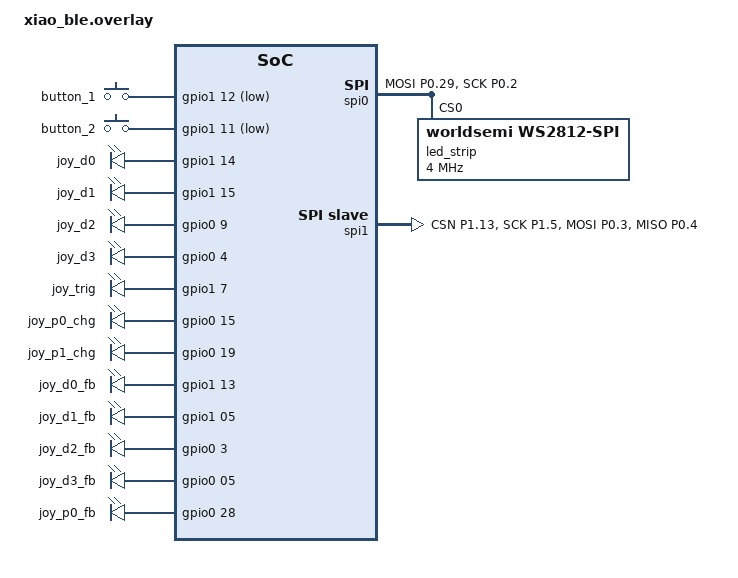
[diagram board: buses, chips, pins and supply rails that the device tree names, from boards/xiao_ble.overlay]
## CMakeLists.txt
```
# SPDX-License-Identifier: Apache-2.0

cmake_minimum_required(VERSION 3.20.0)
find_package(Zephyr REQUIRED HINTS $ENV{ZEPHYR_BASE})
project(blue2joy)

target_sources(app PRIVATE
  src/bthid/bthid.c
  src/bthid/bthid_bonds.c
  src/bthid/bthid_conn.c
  src/bthid/bthid_discovery.c
  src/bthid/bthid_report.c
  src/bthid/bthid_scan.c
  src/bthid/report_map.c
  src/btsvc/btsvc.c
  src/btjp/btjp_commands.c
  src/btjp/btjp_events.c
  src/btjp/btjp_utils.c
  src/event/event_queue.c
  src/event/event_bus.c
  src/mapper/mapper.c
  src/mapper/settings.c
  src/mapper/profiles.c
  src/mapper/joy_port.c
  src/devmgr/devmgr.c
  src/devmgr/devmgr_advlist.c
  src/devmgr/devmgr_devlist.c
  src/devmgr/settings.c
  src/usbsvc/usbsvc.c
  src/io/buttons.c
  src/io/io_pin.c
  src/io/io_pot.c
  src/io/rgbled.c
  src/io/rgbled_seq.c
  src/io/spislave.c
  src/io/xep80_uart.c
  src/xep80/xep80.c
  src/xep80/xep80_cmd.c
  src/xep80/xep80_char.c
  src/xep80/xep80_misc.c
  src/xep80/xep80_update.c
  src/usbd/usbd_init.c
  src/usbd/usbd_winusb.c
  src/usbd/usbd_webusb.c
  src/main.c
)

target_include_directories(app PRIVATE
  src
)


zephyr_library_include_directories(${ZEPHYR_BASE}/samples/bluetooth)
```

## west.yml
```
manifest:
  projects:
    - name: sdk-nrf
      url-base: https://github.com/nrfconnect
      repo-path: nrf
      revision: v3.0.1
      import: true
```

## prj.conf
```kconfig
CONFIG_USB_DEVICE_STACK=n
CONFIG_USB_DEVICE_STACK_NEXT=y
CONFIG_UDC_BUF_COUNT=32
CONFIG_UDC_BUF_POOL_SIZE=2048

CONFIG_LOG=y
CONFIG_LOG_MODE_DEFERRED=y
CONFIG_LOG_BUFFER_SIZE=4096
CONFIG_LOG_CMDS=y
CONFIG_LOG_FUNC_NAME_PREFIX_ERR=n
CONFIG_LOG_FUNC_NAME_PREFIX_WRN=n
CONFIG_LOG_FUNC_NAME_PREFIX_INF=n
CONFIG_LOG_FUNC_NAME_PREFIX_DBG=n


CONFIG_THREAD_LOCAL_STORAGE=y

CONFIG_HW_ID_LIBRARY=y

CONFIG_BT=y
CONFIG_BT_CENTRAL=y
CONFIG_BT_PERIPHERAL=y
CONFIG_BT_SMP=y
CONFIG_BT_GATT_CLIENT=y
CONFIG_BT_MAX_CONN=3
CONFIG_BT_CTLR_PHY_2M=n
CONFIG_BT_PRIVACY=y

CONFIG_BT_EXT_ADV=y
CONFIG_BT_DEVICE_NAME_DYNAMIC=y
CONFIG_BT_DEVICE_APPEARANCE=768

CONFIG_BT_BONDABLE=y
#CONFIG_BT_SMP_MIN_ENC_KEY_SIZE=7
CONFIG_BT_SMP_ENFORCE_MITM=n
CONFIG_BT_SMP_SC_PAIR_ONLY=n

CONFIG_BT_L2CAP_TX_MTU=247
CONFIG_BT_BUF_ACL_RX_SIZE=251
CONFIG_BT_BUF_ACL_TX_SIZE=251
CONFIG_BT_MAX_PAIRED=8
CONFIG_BT_BUF_ACL_TX_COUNT=8


CONFIG_BT_SETTINGS=y
CONFIG_FLASH=y
CONFIG_FLASH_PAGE_LAYOUT=y
CONFIG_FLASH_MAP=y
CONFIG_NVS=y
CONFIG_SETTINGS=y
#CONFIG_SETTINGS_NVS=y
#CONFIG_MPU_ALLOW_FLASH_WRITE=y

#CONFIG_PM_PARTITION_SIZE_SETTINGS_STORAGE=0x4000

CONFIG_GPIO=y
CONFIG_INPUT=y
CONFIG_INPUT_LONGPRESS=y

CONFIG_LED=y
CONFIG_LED_STRIP=y
CONFIG_WS2812_STRIP_SPI=y
CONFIG_SPI=y

CONFIG_SPI_ASYNC=y
CONFIG_SPI_SLAVE=y

CONFIG_NRFX_COMP=y
CONFIG_NRFX_TIMER2=y
CONFIG_NRFX_TIMER3=y
CONFIG_NRFX_PPI=y

CONFIG_NRFX_UARTE0=y
CONFIG_NRFX_PWM0=y

CONFIG_THREAD_NAME=y

CONFIG_SYSTEM_WORKQUEUE_STACK_SIZE=4096

CONFIG_SHELL=y
CONFIG_SHELL_BACKEND_SERIAL=y   # for UART console
CONFIG_SHELL_BACKEND_SERIAL_LOG_LEVEL_WRN=y
CONFIG_SETTINGS_SHELL=y
CONFIG_SHELL_WILDCARD=y
CONFIG_SHELL_CMD_BUFF_SIZE=1024

CONFIG_CLOCK_CONTROL=y
CONFIG_CLOCK_CONTROL_NRF_K32SRC_RC=y
CONFIG_CLOCK_CONTROL_NRF_K32SRC_RC_CALIBRATION=y
CONFIG_CLOCK_CONTROL_NRF_K32SRC_500PPM=y
CONFIG_CLOCK_CONTROL_NRF_CALIBRATION_PERIOD=4000
```

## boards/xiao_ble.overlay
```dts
#include <zephyr/dt-bindings/input/input-event-codes.h>
#include <zephyr/dt-bindings/led/led.h>
#include <zephyr/dt-bindings/gpio/gpio.h>

/ {
    buttons: buttons {
        compatible = "gpio-keys";
        button_1: button_1 {
            gpios = <&gpio1 12 (GPIO_PULL_UP | GPIO_ACTIVE_LOW)>;
            zephyr,code = <INPUT_KEY_1>;
        };
        button_2: button_2 {
            gpios = <&gpio1 11 (GPIO_PULL_UP | GPIO_ACTIVE_LOW)>;
            zephyr,code = <INPUT_KEY_2>;
        };
        debounce-interval-ms = <50>;
    };

    longpress {
        input = <&buttons>;
        compatible = "zephyr,input-longpress";
        input-codes = <INPUT_KEY_1>, <INPUT_KEY_2>;
        short-codes = <INPUT_KEY_R>, <INPUT_KEY_A>;
        long-codes = <INPUT_KEY_P>, <INPUT_KEY_B>;
        long-delay-ms = <2000>;
    };

    joy_outputs {
        compatible = "gpio-leds";
        status = "okay";

        joy_d0: joy_d0 {
            gpios = <&gpio1 14 (GPIO_ACTIVE_HIGH)>;
        };

        joy_d1: joy_d1 {
            gpios = <&gpio1 15 (GPIO_ACTIVE_HIGH)>;
        };

        joy_d2: joy_d2 {
            gpios = <&gpio0 9 (GPIO_ACTIVE_HIGH)>;
        };

        joy_d3: joy_d3 {
            gpios = <&gpio0 4 (GPIO_ACTIVE_HIGH)>;
        };

        joy_trig: joy_trig {
            gpios = <&gpio1 7 (GPIO_ACTIVE_HIGH)>;
        };

        joy_p0_chg: joy_p0_chg {
            gpios = <&gpio0 15 (GPIO_ACTIVE_HIGH)>;
        };

        joy_p1_chg: joy_p1_chg {
            gpios = <&gpio0 19 (GPIO_ACTIVE_HIGH)>;
        };
    };

    joy_inputs {
        compatible = "gpio-leds";
        status = "okay";

        joy_d0_fb: joy_d0_fb {
            gpios = <&gpio1 13 (GPIO_ACTIVE_HIGH | GPIO_PULL_UP)>;
        };

        joy_d1_fb: joy_d1_fb {
            gpios = <&gpio1 05 (GPIO_ACTIVE_HIGH | GPIO_PULL_UP)>;
        };

        joy_d2_fb: joy_d2_fb {
            gpios = <&gpio0 3 (GPIO_ACTIVE_HIGH | GPIO_PULL_UP)>;
        };

        joy_d3_fb: joy_d3_fb {
            gpios = <&gpio0 05 (GPIO_ACTIVE_HIGH | GPIO_PULL_UP)>;
        };

        joy_p0_fb: joy_p0_fb {
            gpios = <&gpio0 28 (GPIO_ACTIVE_HIGH)>;
        };
    };

    aliases {
        button-1 = &button_1;
        button-2 = &button_2;
        joy-d0 = &joy_d0;
        joy-d1 = &joy_d1;
        joy-d2 = &joy_d2;
        joy-d3 = &joy_d3;
        joy-trig = &joy_trig;
        joy-d0-fb = &joy_d0_fb;
        joy-d1-fb = &joy_d1_fb;
        joy-d2-fb = &joy_d2_fb;
        joy-d3-fb = &joy_d3_fb;
        joy-p0-chg = &joy_p0_chg;
        joy-p1-chg = &joy_p1_chg;
        joy-p0-fb = &joy_p0_fb;
        led-strip = &led_strip;
    };
};

&uart0 {
    status = "disabled";
};

&uicr {
	nfct-pins-as-gpios;
};

&pinctrl {
	spi0_default: spi0_default {
		group1 {
			psels =
              <NRF_PSEL(SPIM_MOSI, 0, 29)>,
              <NRF_PSEL_DISCONNECTED(SPIM_MISO)>,
              <NRF_PSEL(SPIM_SCK, 0, 2)>; /* not working without fake SCK */
		};
	};

	spi1_default: spi1_default {
		group1 {
			psels =
                <NRF_PSEL(SPIS_CSN, 1, 13)>,
				<NRF_PSEL(SPIS_SCK, 1, 5)>,
				<NRF_PSEL(SPIS_MOSI, 0, 3)>,
				<NRF_PSEL(SPIS_MISO, 0, 4)>;

            bias-pull-up;
		};
	};
};

&spi0 {
	status = "okay";
	pinctrl-0 = <&spi0_default>;
	pinctrl-names = "default";

	led_strip: ws2812@0 {
		compatible = "worldsemi,ws2812-spi";

		reg = <0>;
		chain-length = <1>;
		color-mapping = <LED_COLOR_ID_GREEN
					LED_COLOR_ID_RED
					LED_COLOR_ID_BLUE>;
		reset-delay = <120>;
        spi-one-frame = <0x70>;
        spi-zero-frame = <0x40>;
        spi-max-frequency = <4000000>;
	};
};

&spi1 {
    compatible = "nordic,nrf-spis";

	status = "okay";
	pinctrl-0 = <&spi1_default>;
	pinctrl-names = "default";

	def-char = <0x00>;

    zephyr,deferred-init;
};
```

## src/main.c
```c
/*
 * This file is part of the Blue2Joy project
 * (https://github.com/cepetr/blue2joy).
 * Copyright (c) 2025
 *
 * This program is free software: you can redistribute it and/or modify
 * it under the terms of the GNU General Public License as published by
 * the Free Software Foundation, version 3.
 *
 * This program is distributed in the hope that it will be useful, but
 * WITHOUT ANY WARRANTY; without even the implied warranty of
 * MERCHANTABILITY or FITNESS FOR A PARTICULAR PURPOSE. See the GNU
 * General Public License for more details.
 *
 * You should have received a copy of the GNU General Public License
 * along with this program. If not, see <http://www.gnu.org/licenses/>.
 */

#include <zephyr/bluetooth/bluetooth.h>
#include <zephyr/settings/settings.h>
#include <zephyr/storage/flash_map.h>

#include <zephyr/logging/log.h>
#include <app_version.h>

#include <bthid/bthid.h>
#include <btsvc/btsvc.h>
#include <usbsvc/usbsvc.h>
#include <io/buttons.h>
#include <io/rgbled_seq.h>
#include <io/io_pin.h>
#include <io/io_pot.h>
#include <io/spislave.h>
#include <mapper/mapper.h>
#include <mapper/profiles.h>
#include <mapper/joy_port.h>
#include <devmgr/devmgr.h>
#include <event/event_bus.h>
#include <xep80/xep80.h>
#include <usbd/usbd_init.h>

LOG_MODULE_REGISTER(btj, LOG_LEVEL_DBG);

static int erase_storage_partition(void)
{
    const struct flash_area *fa;
    int err = flash_area_open(FIXED_PARTITION_ID(storage_partition), &fa);
    if (err) {
        return err;
    }
    err = flash_area_erase(fa, 0, fa->fa_size); /* erase the whole partition */
    flash_area_close(fa);
    return err;
}

static void event_callback(void *context, const event_t *ev)
{
    if (ev->subject == EV_SUBJECT_SYS_STATE || ev->subject == EV_SUBJECT_DEV_LIST ||
        ev->subject == EV_SUBJECT_BTSVC_STATE) {
        devmgr_state_t state;
        devmgr_get_state(&state);

        if (btsvc_is_advertising()) {
            rgbled_set_state(led_seq_advertising);
        } else if (state.scanning) {
            if (state.mode == DEVMGR_MODE_PAIRING) {
                rgbled_set_state(led_seq_pairing);
            } else {
                rgbled_set_state(led_seq_scanning);
            }
        } else if (devmgr_is_connecting()) {
            rgbled_set_state(led_seq_connecting);
        } else if (devmgr_is_ready()) {
            rgbled_set_state(led_seq_ready);
        } else if (state.mode == DEVMGR_MODE_MANUAL) {
            rgbled_set_state(led_seq_manual);
        } else {
            rgbled_set_state(led_seq_idle);
        }
    } else if (ev->subject == EV_SUBJECT_CONN_ERROR) {
        rgbled_set_event(led_seq_error);
    }
}

int main(void)
{
    int err;

    LOG_INF("Blue2Joy %s", APP_VERSION_STRING);

    err = rgbled_init();
    if (err) {
        LOG_ERR("RGB LED init failed {err: %d}", err);
        return 0;
    }

    bool factory_reset = factory_reset_detected();

    if (factory_reset) {
        LOG_INF("Performing factory reset");
        err = erase_storage_partition();
        if (!err) {
            rgbled_set_event(led_seq_factory_reset);
        } else {
            LOG_ERR("Failed to erase storage partition {err: %d}", err);
        }
    }

    err = event_bus_init();
    if (err) {
        LOG_ERR("Event bus init failed {err: %d}", err);
        return 0;
    }

    err = event_bus_subscribe(event_callback, NULL);
    if (err) {
        LOG_ERR("Event bus subscribe failed {err: %d}", err);
        return 0;
    }

    err = io_pin_init();
    if (err) {
        LOG_ERR("io_pin driver init failed {err: %d}", err);
        return 0;
    }

    err = io_pot_init();
    if (err) {
        LOG_ERR("io_pot driver init failed {err: %d}", err);
        return 0;
    }

    err = mapper_init();
    if (err) {
        LOG_ERR("I/O mapper init failed {err: %d}", err);
        return 0;
    }

    err = xep80_init();
    if (err) {
        LOG_ERR("XEP80 init failed {err: %d}", err);
        return 0;
    }

    mapper_set_profile(0, &profile_joy_analog, false);
    // mapper_set_profile(0, &profile_mouse, false);

    err = bt_enable(NULL);
    if (err) {
        LOG_ERR("Bluetooth stack init failed {err: %d}", err);
        return 0;
    }

    err = devmgr_init();
    if (err) {
        LOG_ERR("Device manager init failed {err: %d}", err);
        return 0;
    }

    err = settings_load();
    if (err) {
        LOG_ERR("Failed to load settings {err: %d}", err);
    }

    err = usbsvc_init();
    if (err) {
        LOG_ERR("USB service init failed {err: %d}", err);
        return 0;
    }

    err = btsvc_init();
    if (err) {
        LOG_ERR("Bluetooth service init failed {err: %d}", err);
        return 0;
    }

    // Finally enable USB

    err = btj_usbd_init();
    if (err) {
        LOG_ERR("USB device init failed {err: %d}", err);
        return 0;
    }

    // joy_port_set_mode(JOY_PORT_MODE_UART);

    devmgr_set_mode(DEVMGR_MODE_AUTO, true);

    return 0;
}
```
